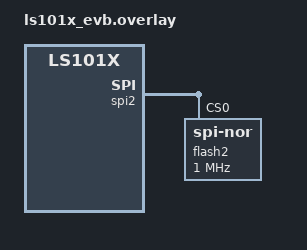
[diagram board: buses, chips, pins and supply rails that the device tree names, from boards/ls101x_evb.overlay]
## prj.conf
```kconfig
CONFIG_PRINTK=y
CONFIG_LOG=y
CONFIG_FLASH=y
CONFIG_SPI=y
CONFIG_SPI_NOR=y
CONFIG_SPI_NOR_SFDP_RUNTIME=y
CONFIG_SPI_NOR_MULTI_DEV=n
```

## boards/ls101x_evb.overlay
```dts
&spi2 {
    status = "okay";
    flash2: flash2@0 {
        compatible = "jedec,spi-nor";
        reg = <0>;
        spi-max-frequency = <1000000>;
        status = "okay";
    };
};
```

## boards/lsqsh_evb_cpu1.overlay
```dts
&spi2 {
    status = "okay";
    flash2: flash2@0 {
        compatible = "jedec,spi-nor";
        reg = <0>;
        spi-max-frequency = <300000>;
        status = "okay";
    };
};
```

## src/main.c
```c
/*
 * Copyright (c) 2017 Linaro Limited
 *
 * SPDX-License-Identifier: Apache-2.0
 */
#include <stdio.h>
#include <zephyr/drivers/flash.h>
#include <zephyr/logging/log.h>
#include <zephyr/device.h>
#include <zephyr/devicetree.h>
#include <zephyr/kernel.h>
#include <stdlib.h>

LOG_MODULE_REGISTER(flash_spi_example, LOG_LEVEL_INF);

#define FLASH_SIZE        0x10000        
#define FLASH_OFFSET      0x0000000      

static uint8_t data_write[] = {0x9f};  // The data to be written
static uint8_t data_read[1];  //Data for reading

/*
 *@method:Write the data externally to the flash,
 *        and then open the logic analyzer to check 
 *        if the SPI pins have responded with the device ID.
*/
void flash_test(const struct device *dev)
{ 
    int rc;
    size_t len = sizeof(data_write);
    if (!dev) {
        LOG_INF("Flash device not found");
        return;
    }

    // Erase the data in Flash
    rc = flash_erase(dev, FLASH_OFFSET, FLASH_SIZE);  // Erase the specified area
    if (rc != 0) {
        LOG_INF("Flash erase failed: %d", rc);
        return;
    }
    LOG_INF("Flash sector erased");

    // Write data to Flash
    rc = flash_write(dev, FLASH_OFFSET, data_write, len);
    if (rc != 0) {
        LOG_INF("Flash write failed: %d", rc);
        return;
    }
    LOG_INF("Data written to Flash");

    // Reading data
    rc = flash_read(dev, FLASH_OFFSET, data_read, len);
    if (rc != 0) {
        LOG_INF("Flash read failed: %d", rc);
        return;
    }
    LOG_INF("Data read from Flash: ");
    for (int i = 0; i < len; i++) {
        LOG_INF("0x%02X ", data_read[i]);
    }
}

void main(void)
{
    //get external flash
    const struct device *const flash_dev = DEVICE_DT_GET(DT_NODELABEL(flash2)); 
    printf("Hello World! %s\n", CONFIG_BOARD_TARGET);

    //obtain the ID of the external flash
    uint8_t id[3] = { 0 };
    int rc = 0;

    rc = flash_read_jedec_id(flash_dev, id);
    if (rc == 0) {
        printf("jedec-id = [%02x %02x %02x];\n", id[0], id[1], id[2]);
    } else {
        printf("JEDEC ID read failed: %d\n", rc);
    }

    flash_test(flash_dev);
}
```
